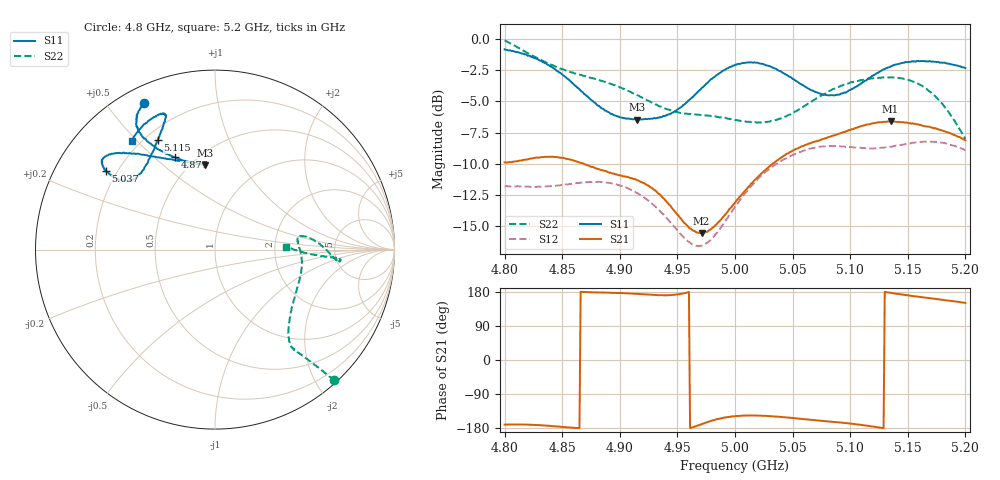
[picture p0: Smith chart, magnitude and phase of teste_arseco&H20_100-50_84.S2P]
! Network Analyzer HP8722D
! Hewlett-Packard
! Data name: Linha & Wilkinson
! Saver's name: Rodrigo Anjos
! Comments: Teste da utilização de aquisição
! continua pelo VNA HP8722D
! Time and date: 6/5/2025 13:16
!  Frequency  S11  S21  S12  S22
# HZ  S  MA R 50
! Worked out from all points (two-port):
!   401 points, 4.8 GHz to 5.2 GHz, reference 50 ohm
!   highest |S21| = -6.60 dB at 5.135 GHz (marker M1); lowest = -15.5 dB at 4.971 GHz (marker M2)
!   |S21| within 3 dB of the highest: 4.822 GHz to 4.854 GHz (31.54 MHz wide, 0.652 % of centre); 5.039 GHz to end of sweep
!   lowest |S11| = -6.5 dB at 4.915 GHz (marker M3), VSWR 2.81, Z = 29 + j35.4 ohm
!   |S11| at or under -10 dB: nowhere
!   |S22| runs from -8.0 to -0.1 dB; largest |S21 - S12| = 0.83
!   S11 on the Smith chart (normalised r, x): 4.8 GHz: 0.07, +0.62; 4.877 GHz: 0.39, +0.58; 5.037 GHz: 0.16, +0.31; 5.115 GHz: 0.25, +0.58; 5.2 GHz: 0.17, +0.48
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4.8e9  0.9073 115.8  0.3202 -170.5  0.2566 -86.1  0.9846 -47.5
4.834e9  0.8047 122.5  0.3368 -172.6  0.2564 -76.9  0.8114 -49.7
4.849e9  0.7272 122.1  0.334 -176.4  0.2598 -71.8  0.7586 -50.5
4.867e9  0.6143 117.8  0.3183 179.7  0.2657 -67.4  0.7152 -51.6
4.877e9  0.5607 113.4  0.3067 178.5  0.2676 -66.4  0.695 -51.8
4.897e9  0.4913 102.8  0.2867 176.9  0.2618 -66.4  0.6481 -50.6
4.915e9  0.4749 96.5  0.2718 174.5  0.2415 -68.3  0.5948 -46.4
4.934e9  0.4832 99.1  0.2393 171.0  0.2071 -69.4  0.5382 -37.6
4.958e9  0.5562 115.4  0.1797 177.6  0.1565 -59.7  0.5018 -21.7
4.971e9  0.6353 124.7  0.167 -169.5  0.1485 -45.3  0.4942 -13.8
4.982e9  0.7023 130.4  0.1774 -158.3  0.1624 -33.1  0.4903 -8.2
5e9  0.7867 137.3  0.2208 -148.3  0.213 -21.5  0.4733 -0.2
5.018e9  0.8018 141.6  0.2743 -146.5  0.2694 -18.3  0.4641 5.8
5.037e9  0.7493 144.3  0.3268 -149.4  0.318 -18.3  0.475 9.0
5.067e9  0.6214 141.9  0.3852 -158.0  0.3655 -20.6  0.5629 4.6
5.089e9  0.5974 132.5  0.415 -164.2  0.3716 -23.8  0.6392 -1.9
5.115e9  0.689 117.5  0.454 -173.6  0.3639 -26.7  0.6903 -5.4
5.134e9  0.7691 111.3  0.4658 177.8  0.3692 -28.8  0.6999 -4.8
5.135e9  0.7744 111.1  0.4676 177.4  0.3701 -28.8  0.7007 -4.7
5.161e9  0.8144 112.3  0.4525 166.2  0.3867 -35.0  0.6541 -3.7
5.179e9  0.8037 118.7  0.4308 159.1  0.384 -40.7  0.5547 -3.1
5.2e9  0.7631 127.2  0.3922 150.7  0.3582 -46.4  0.3974 2.4
